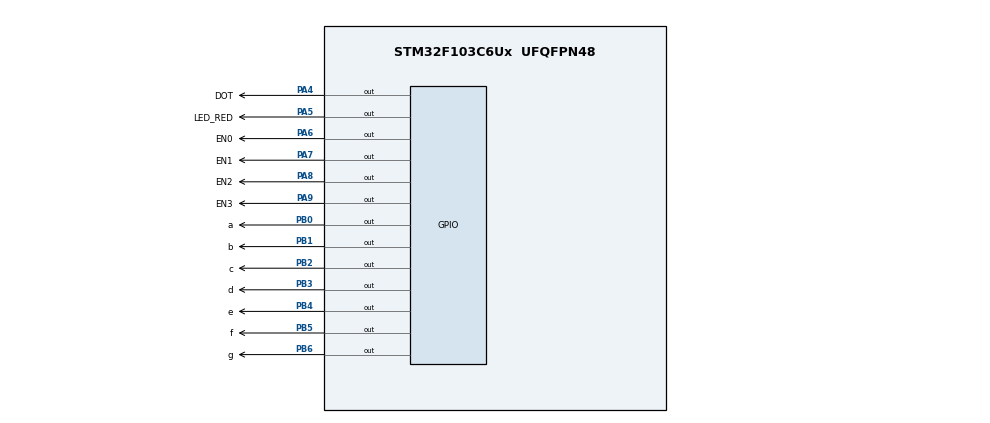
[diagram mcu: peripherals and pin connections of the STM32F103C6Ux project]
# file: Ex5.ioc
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Mcu.Family=STM32F1
Mcu.Name=STM32F103C6Ux
Mcu.Package=UFQFPN48
NVIC.PriorityGroup=NVIC_PRIORITYGROUP_4
NVIC.TIM2_IRQn=true\:0\:0\:false\:false\:true\:true\:true
PA13.Mode=Serial_Wire
PA13.Signal=SYS_JTMS-SWDIO
PA14.Mode=Serial_Wire
PA14.Signal=SYS_JTCK-SWCLK
PA4.GPIO_Label=DOT
PA4.Signal=GPIO_Output
PA5.GPIO_Label=LED_RED
PA5.Signal=GPIO_Output
PA6.GPIO_Label=EN0
PA6.Signal=GPIO_Output
PA7.GPIO_Label=EN1
PA7.Signal=GPIO_Output
PA8.GPIO_Label=EN2
PA8.Signal=GPIO_Output
PA9.GPIO_Label=EN3
PA9.Signal=GPIO_Output
PB0.GPIO_Label=a
PB0.Signal=GPIO_Output
PB1.GPIO_Label=b
PB1.Signal=GPIO_Output
PB2.GPIO_Label=c
PB2.Signal=GPIO_Output
PB3.GPIO_Label=d
PB3.Signal=GPIO_Output
PB4.GPIO_Label=e
PB4.Signal=GPIO_Output
PB5.GPIO_Label=f
PB5.Signal=GPIO_Output
PB6.GPIO_Label=g
PB6.Signal=GPIO_Output
ProjectManager.HeapSize=0x200
ProjectManager.StackSize=0x400
ProjectManager.TargetToolchain=STM32CubeIDE
RCC.APB1Freq_Value=8000000
RCC.APB2Freq_Value=8000000
TIM2.Period=9
TIM2.Prescaler=7999
VP_TIM2_VS_ClockSourceINT.Mode=Internal
board=custom

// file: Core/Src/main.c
/* USER CODE BEGIN Header */
/**
  ******************************************************************************
  * @file           : main.c
  * @brief          : Main program body
  ******************************************************************************
  * @attention
  *
  * <h2><center>&copy; Copyright (c) 2024 STMicroelectronics.
  * All rights reserved.</center></h2>
  *
  * This software component is licensed by ST under BSD 3-Clause license,
  * the "License"; You may not use this file except in compliance with the
  * License. You may obtain a copy of the License at:
  *                        opensource.org/licenses/BSD-3-Clause
  *
  ******************************************************************************
  */
/* USER CODE END Header */
#include "main.h"

TIM_HandleTypeDef htim2;

void SystemClock_Config(void);
static void MX_GPIO_Init(void);
static void MX_TIM2_Init(void);
void display7SEG(int num){
	uint16_t display[10] = {0x3f, 0x06, 0x5b, 0x4f, 0x66, 0x6d, 0x7D, 0x07, 0x7F, 0x6f};
	uint16_t bit_var = display[num];
	HAL_GPIO_WritePin(GPIOB, bit_var, RESET);
	HAL_GPIO_WritePin(GPIOB, ~bit_var, SET);
}
/* USER CODE BEGIN PFP */

const int MAX_LED = 4;
int index_led = 0;
int led_buffer [4] = {0, 0, 0, 0};

void update7SEG(int index){
	switch(index){
	case 0:
		// Display the first 7 SEG with led_buffer [0]
		HAL_GPIO_WritePin(GPIOA, EN0_Pin, RESET);
		HAL_GPIO_WritePin(GPIOA, EN1_Pin | EN2_Pin | EN3_Pin, SET);
		display7SEG(led_buffer[0]);
		break;
	case 1:
		// Display the second 7 SEG with led_buffer [1]
		HAL_GPIO_WritePin(GPIOA, EN1_Pin, RESET);
		HAL_GPIO_WritePin(GPIOA, EN0_Pin | EN2_Pin | EN3_Pin, SET);
		display7SEG(led_buffer[1]);
		break;
	case 2:
		// Display the third 7 SEG with led_buffer [2]
		HAL_GPIO_WritePin(GPIOA, EN2_Pin, RESET);
		HAL_GPIO_WritePin(GPIOA, EN0_Pin | EN1_Pin | EN3_Pin, SET);
		display7SEG(led_buffer[2]);
		break;
	case 3:
		// Display the forth 7 SEG with led_buffer [3]
		HAL_GPIO_WritePin(GPIOA, EN3_Pin, RESET);
		HAL_GPIO_WritePin(GPIOA, EN0_Pin| EN1_Pin | EN2_Pin , SET);
		display7SEG(led_buffer[3]);
		break;
	default:
		break;
	}
}

//int led_buffer [4] = {0, 0, 0, 0};
int hour = 15;
int minute = 7;
int second = 55;

void updateClockBuffer(){
	if(hour >= 0 && hour <=9){
		led_buffer[0] = 0;
		led_buffer[1] = hour;
	}
	else if(hour >=10 && hour <=23){
		led_buffer[1] = hour%10;
		led_buffer[0] = hour/10;
	}
	if(minute >= 0 && minute <=9){
			led_buffer[2] = 0;
			led_buffer[3] = minute;
		}
	else if(minute >=10 && minute <=59){
			led_buffer[3] = minute%10;
			led_buffer[2] = minute/10;
		}
}

/* USER CODE END PFP */

int main(void)
{

  /* MCU Configuration--------------------------------------------------------*/

  /* Reset of all peripherals, Initializes the Flash interface and the Systick. */
  HAL_Init();

  /* Configure the system clock */
  SystemClock_Config();

  /* Initialize all configured peripherals */
  MX_GPIO_Init();
  MX_TIM2_Init();
  /* USER CODE BEGIN 2 */
  HAL_TIM_Base_Start_IT (& htim2 );
  /* USER CODE END 2 */

  /* Infinite loop */
  /* USER CODE BEGIN WHILE */

  while (1)
  {
	  second ++;
	  if ( second >= 60) {
		  second = 0;
		  minute ++;
	  }
	  if( minute >= 60) {
		  minute = 0;
		  hour ++;
	  }
	  if( hour >=24){
		  hour = 0;
	  }
	  updateClockBuffer (hour,minute);
	  HAL_Delay (1000) ;

    /* USER CODE END WHILE */

  }
}

void SystemClock_Config(void)
{
  RCC_OscInitTypeDef RCC_OscInitStruct = {0};
  RCC_ClkInitTypeDef RCC_ClkInitStruct = {0};

  /** Initializes the RCC Oscillators according to the specified parameters
  * in the RCC_OscInitTypeDef structure.
  */
  RCC_OscInitStruct.OscillatorType = RCC_OSCILLATORTYPE_HSI;
  RCC_OscInitStruct.HSIState = RCC_HSI_ON;
  RCC_OscInitStruct.HSICalibrationValue = RCC_HSICALIBRATION_DEFAULT;
  RCC_OscInitStruct.PLL.PLLState = RCC_PLL_NONE;
  if (HAL_RCC_OscConfig(&RCC_OscInitStruct) != HAL_OK)
  {
    Error_Handler();
  }
  /** Initializes the CPU, AHB and APB buses clocks
  */
  RCC_ClkInitStruct.ClockType = RCC_CLOCKTYPE_HCLK|RCC_CLOCKTYPE_SYSCLK
                              |RCC_CLOCKTYPE_PCLK1|RCC_CLOCKTYPE_PCLK2;
  RCC_ClkInitStruct.SYSCLKSource = RCC_SYSCLKSOURCE_HSI;
  RCC_ClkInitStruct.AHBCLKDivider = RCC_SYSCLK_DIV1;
  RCC_ClkInitStruct.APB1CLKDivider = RCC_HCLK_DIV1;
  RCC_ClkInitStruct.APB2CLKDivider = RCC_HCLK_DIV1;

  if (HAL_RCC_ClockConfig(&RCC_ClkInitStruct, FLASH_LATENCY_0) != HAL_OK)
  {
    Error_Handler();
  }
}

static void MX_TIM2_Init(void)
{

  TIM_ClockConfigTypeDef sClockSourceConfig = {0};
  TIM_MasterConfigTypeDef sMasterConfig = {0};

  htim2.Instance = TIM2;
  htim2.Init.Prescaler = 7999;
  htim2.Init.CounterMode = TIM_COUNTERMODE_UP;
  htim2.Init.Period = 9;
  htim2.Init.ClockDivision = TIM_CLOCKDIVISION_DIV1;
  htim2.Init.AutoReloadPreload = TIM_AUTORELOAD_PRELOAD_DISABLE;
  if (HAL_TIM_Base_Init(&htim2) != HAL_OK)
  {
    Error_Handler();
  }
  sClockSourceConfig.ClockSource = TIM_CLOCKSOURCE_INTERNAL;
  if (HAL_TIM_ConfigClockSource(&htim2, &sClockSourceConfig) != HAL_OK)
  {
    Error_Handler();
  }
  sMasterConfig.MasterOutputTrigger = TIM_TRGO_RESET;
  sMasterConfig.MasterSlaveMode = TIM_MASTERSLAVEMODE_DISABLE;
  if (HAL_TIMEx_MasterConfigSynchronization(&htim2, &sMasterConfig) != HAL_OK)
  {
    Error_Handler();
  }

}

static void MX_GPIO_Init(void)
{
  GPIO_InitTypeDef GPIO_InitStruct = {0};

  /* GPIO Ports Clock Enable */
  __HAL_RCC_GPIOA_CLK_ENABLE();
  __HAL_RCC_GPIOB_CLK_ENABLE();

  /*Configure GPIO pin Output Level */
  HAL_GPIO_WritePin(GPIOA, DOT_Pin|LED_RED_Pin|EN0_Pin|EN1_Pin
                          |EN2_Pin|EN3_Pin, GPIO_PIN_RESET);

  /*Configure GPIO pin Output Level */
  HAL_GPIO_WritePin(GPIOB, a_Pin|b_Pin|c_Pin|d_Pin
                          |e_Pin|f_Pin|g_Pin, GPIO_PIN_RESET);

  /*Configure GPIO pins : DOT_Pin LED_RED_Pin EN0_Pin EN1_Pin
                           EN2_Pin EN3_Pin */
  GPIO_InitStruct.Pin = DOT_Pin|LED_RED_Pin|EN0_Pin|EN1_Pin
                          |EN2_Pin|EN3_Pin;
  GPIO_InitStruct.Mode = GPIO_MODE_OUTPUT_PP;
  GPIO_InitStruct.Pull = GPIO_NOPULL;
  GPIO_InitStruct.Speed = GPIO_SPEED_FREQ_LOW;
  HAL_GPIO_Init(GPIOA, &GPIO_InitStruct);

  /*Configure GPIO pins : a_Pin b_Pin c_Pin d_Pin
                           e_Pin f_Pin g_Pin */
  GPIO_InitStruct.Pin = a_Pin|b_Pin|c_Pin|d_Pin
                          |e_Pin|f_Pin|g_Pin;
  GPIO_InitStruct.Mode = GPIO_MODE_OUTPUT_PP;
  GPIO_InitStruct.Pull = GPIO_NOPULL;
  GPIO_InitStruct.Speed = GPIO_SPEED_FREQ_LOW;
  HAL_GPIO_Init(GPIOB, &GPIO_InitStruct);

}

/* USER CODE BEGIN 4 */
int counter = 25;
int counter1 = 100;
void HAL_TIM_PeriodElapsedCallback ( TIM_HandleTypeDef * htim )
{
	counter --;
	if( counter <= 0)
	{
		counter = 25;
		update7SEG ( index_led ++) ;
		if( index_led > 3)
		{
			index_led = 0;
		}
	}
	counter1 --;
	if ( counter1 <= 0)
	{
		counter1 = 100;
		HAL_GPIO_TogglePin ( LED_RED_GPIO_Port , LED_RED_Pin );
		HAL_GPIO_TogglePin ( DOT_GPIO_Port , DOT_Pin );
	}

}
/* USER CODE END 4 */

void Error_Handler(void)
{
  __disable_irq();
  while (1)
  {
  }
}

/************************ (C) COPYRIGHT STMicroelectronics *****END OF FILE****/
